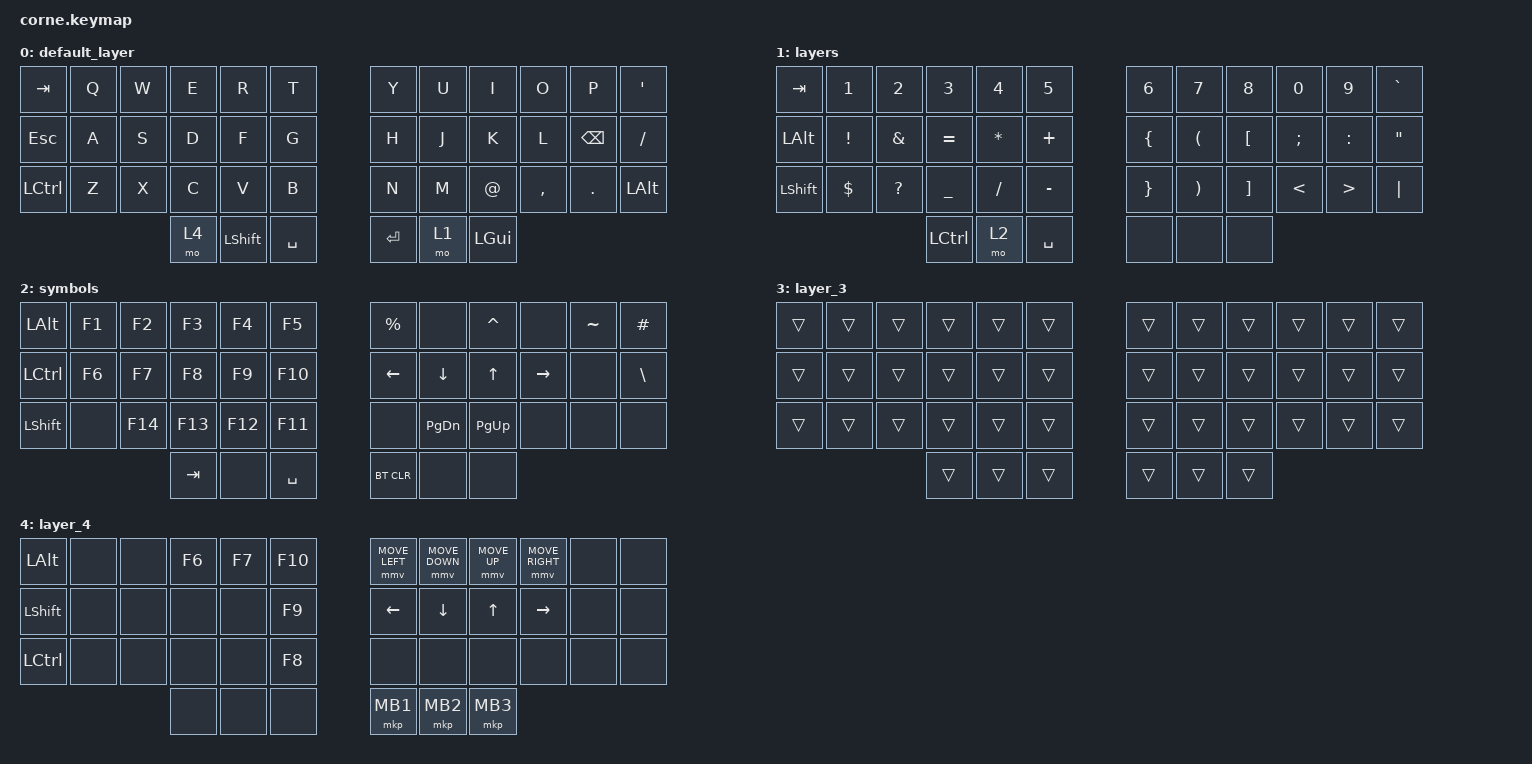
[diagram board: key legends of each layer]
/*
 * Copyright (c) 2020 The ZMK Contributors
 * ...
 * SPDX-License-Identifier: MITs
 */

#include <behaviors.dtsi>
#include <dt-bindings/zmk/bt.h>
#include <dt-bindings/zmk/keys.h>
/* #include <dt-bindings/zmk/keys.h> */

#include <dt-bindings/zmk/pointing.h>

/ {
    behaviors {
        rpi: require_prior_idle {
            compatible = "zmk,behavior-hold-tap";
            #binding-cells = <2>;
            flavor = "tap-preferred";
            tapping-term-ms = <90>;
            require-prior-idle-ms = <125>;
            bindings = <&kp>, <&kp>;
        };
    };
};

/ {
    keymap {
        compatible = "zmk,keymap";

        default_layer {
            // -----------------------------------------------------------------------------------------
            // |  TAB |  Q  |  W  |  E  |  R  |  T  |   |  Y  |  U   |  I  |  O  |  P  |  '  |
            // |  ESC |  A  |  S  |  D  |  F  |  G  |   |  H  |  J   |  K  |  L  |BSPC |  /  | &bt BT_CLR
            // | CTRL |  Z  |  X  |  C  |  V  |  B  |   |  N  |  M   |  @  |  ,  |  .  | ALT |
            //                    | LWR |SHFT | SPC |   | ENT | RSE  | mod |

            bindings = <
&kp TAB    &kp Q  &kp W  &kp E         &kp R      &kp T        &kp Y    &kp U  &kp I   &kp O      &kp P     &kp APOS
&kp ESC    &kp A  &kp S  &kp D         &kp F      &kp G        &kp H    &kp J  &kp K   &kp L      &kp BSPC  &kp FSLH
&kp LCTRL  &kp Z  &kp X  &kp C         &kp V      &kp B        &kp N    &kp M  &kp AT  &kp COMMA  &kp DOT   &kp LEFT_ALT
                         &mo 4         &kp LSHFT  &kp SPACE    &kp RET  &mo 1  &kp LEFT_GUI
            >;
        };

        layers {
            // -----------------------------------------------------------------------------------------
            // | TAB  |  1  |  2  |  3  |  4  |  5  |   |  6  |  7  |  8  |  0  |  9  |  `  |
            // | LALT |  !  |  &  |  =  |  *  |  +  |   |  {  |  (  |  [  |  ;  |  :  |  "  |
            // | SHFT |  $  |  ?  |  _  |  /  |  -  |   |  }  |  )  |  ]  |  <  |  >  |  |  |
            //                    |LCTRL|OTHER| SPC |   | ENT |||||||     |

            bindings = <
&kp TAB    &kp N1    &kp N2     &kp N3     &kp N4    &kp N5       &kp N6    &kp N7    &kp N8    &kp N0    &kp N9     &kp GRAVE
&kp LALT   &kp EXCL  &kp AMPS   &kp EQUAL  &kp STAR  &kp PLUS     &kp LBRC  &kp LPAR  &kp LBKT  &kp SEMI  &kp COLON  &kp DQT
&kp LSHFT  &kp DLLR  &kp QMARK  &kp UNDER  &kp FSLH  &kp MINUS    &kp RBRC  &kp RPAR  &kp RBKT  &kp LT    &kp GT     &kp PIPE
                                &kp LCTRL  &mo 2     &kp SPACE    &none     &none     &none
            >;
        };

symbols {
            // -----------------------------------------------------------------------------------------
            // | ALT  | F1  | F2  | F3  | F4  | F5  |   |  %  |     |  ^  |     |TILDE|  #  |
            // | CTRL | F6  | F7  | F8  | F9  | F10 |   |  ←  |  ↓  |  ↑  |  →  |     |  \  |
            // | SHFT |     |     |     | F12 | F11 |   |     |PG UP|PG DN|     |     |     |
            //                    | TAB ||||||| SPC |   |BTCLR|||||||     |

            bindings = <
&kp LALT   &kp F1 &kp F2  &kp F3    &kp F4  &kp F5     &kp PRCNT  &none     &kp CARET &none     &kp TILDE &kp HASH
&kp LCTRL  &kp F6 &kp F7  &kp F8    &kp F9  &kp F10    &kp LEFT   &kp DOWN  &kp UP    &kp RIGHT &none     &kp BSLH
&kp LSHFT  &none  &kp F14 &kp F13   &kp F12 &kp F11    &none      &kp PG_DN &kp PG_UP &none     &none     &none
                        &kp TAB &none   &kp SPC    &bt BT_CLR &none &none
            >;
        };

        layer_3 {
            bindings = <
&trans  &trans  &trans  &trans  &trans  &trans    &trans  &trans  &trans  &trans  &trans  &trans
&trans  &trans  &trans  &trans  &trans  &trans    &trans  &trans  &trans  &trans  &trans  &trans
&trans  &trans  &trans  &trans  &trans  &trans    &trans  &trans  &trans  &trans  &trans  &trans
                        &trans  &trans  &trans    &trans  &trans  &trans
            >;
        };


        layer_4 {
        // -----------------------------------------------------------------------------------------
        // | CTRL |     |     |googl|paste|main |   |     |     |     |     |     |     |
        // | SHFT |     |     |     |     |to-do|   |  ←  |  ↓  |  ↑  |  →  |  \  |SHFT |
        // | ALT  |     |     |     |     |task |   | mmv | mmv | mmv | mmv |     |     |
        //                    |     |     |     |   | MB1 | MB2 | MB3 |
            bindings = <
&kp LALT  &none  &none  &kp F6 &kp F7 &kp F10       &mmv MOVE_LEFT  &mmv MOVE_DOWN  &mmv MOVE_UP  &mmv MOVE_RIGHT  &none   &none
&kp LSHFT &none  &none  &none  &none  &kp F9        &kp LEFT        &kp DOWN        &kp UP        &kp RIGHT        &none   &none
&kp LCTRL &none  &none  &none  &none  &kp F8        &none           &none           &none         &none            &none   &none 
                        &none  &none  &none         &mkp MB1        &mkp MB2        &mkp MB3
            >;
        }; 


        //                mouse {
        // -----------------------------------------------------------------------------------------
        // |      |     |     |     |     |     |   |     |     |     |     |     |     |
        // |      |     |     |     |     |     |   |     |     |     |     |     |     |
        // |      |     |     |     |PRESS|     |   |     |     |     |     |     |     |
        //                    |     |     |     |   |     |     |     |
        //                        bindings = <
        //   &none &none &none &mkp LCLK &mkp RCLK&none &mmv MOVE_X(-100) &mmv MOVE_Y(100) &mmv MOVE_Y(-100) &mmv MOVE_X(100) &none &none
        //   &none &none &none &none &none &none        &mmv MOVE_X(-30) &mmv MOVE_Y(30) &mmv MOVE_Y(-30) &mmv MOVE_X(30)  &none &none
        //   &none &none &none &none &none &none        &mmv MOVE_X(-5) &mmv MOVE_Y(5) &mmv MOVE_Y(-5) &mmv MOVE_X(5)  &none &none
        //                     &none &none &none        &none &none &none
        //                        >;
        //                };
    };
};
